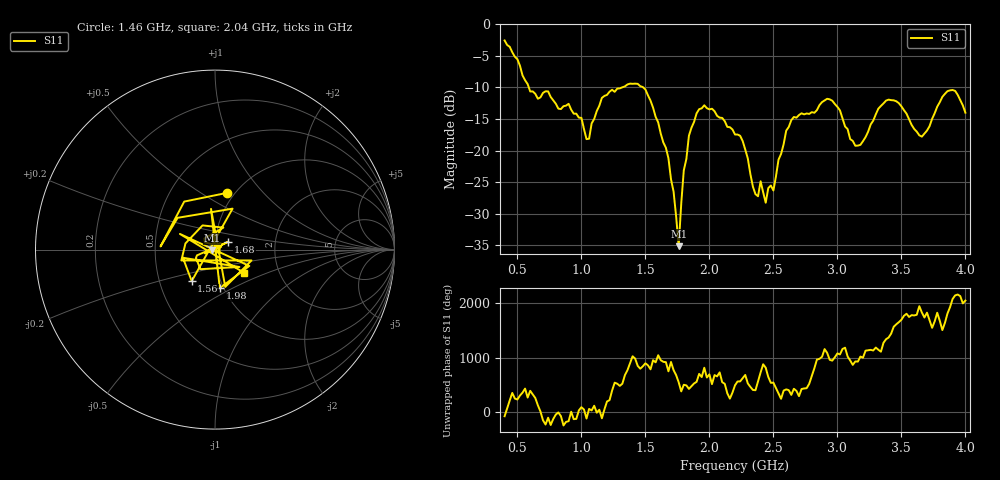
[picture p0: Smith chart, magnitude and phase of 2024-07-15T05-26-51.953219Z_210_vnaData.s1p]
!Created with skrf (http://scikit-rf.org).
# Hz S RI R 50.0
!freq ReS11 ImS11
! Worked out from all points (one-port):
!   181 points, 400 MHz to 4 GHz, reference 50 ohm
!   lowest |S11| = -35.1 dB at 1.76 GHz (marker M1), VSWR 1.04, Z = 48.3 - j0.313 ohm
!   |S11| at or under -10 dB: 588.8 MHz to 1.319 GHz (730.3 MHz wide, 76.6 % of centre); 1.482 GHz to end of sweep
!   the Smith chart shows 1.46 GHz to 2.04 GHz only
!   S11 on the Smith chart (normalised r, x): 1.46 GHz: 0.92, +0.65; 1.56 GHz: 0.73, -0.27; 1.68 GHz: 1.16, +0.10; 1.98 GHz: 0.96, -0.43; 2.04 GHz: 1.33, -0.35
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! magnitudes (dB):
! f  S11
! 400 MHz  -2.6
! 600 MHz  -10.7
! 860 MHz  -13.0
! 1.06 GHz  -18.1
! 1.16 GHz  -11.7
! 1.3 GHz  -10.2
! 1.46 GHz  -9.8
! 1.56 GHz  -13.2
! 1.68 GHz  -21.2
! 1.76 GHz  -35.1
! 1.8 GHz  -23.1
! 1.84 GHz  -17.7
! 1.98 GHz  -13.3
! 2.04 GHz  -13.8
! 2.2 GHz  -17.5
! 2.26 GHz  -18.5
! 2.36 GHz  -26.9
! 2.4 GHz  -24.9
! 2.44 GHz  -28.3
! 2.66 GHz  -14.7
! 2.94 GHz  -11.9
! 3.1 GHz  -18.2
! 3.18 GHz  -19.1
! 3.4 GHz  -12.0
! 3.56 GHz  -15.1
! 3.66 GHz  -17.8
! 3.9 GHz  -10.4
! 4 GHz  -14.0
